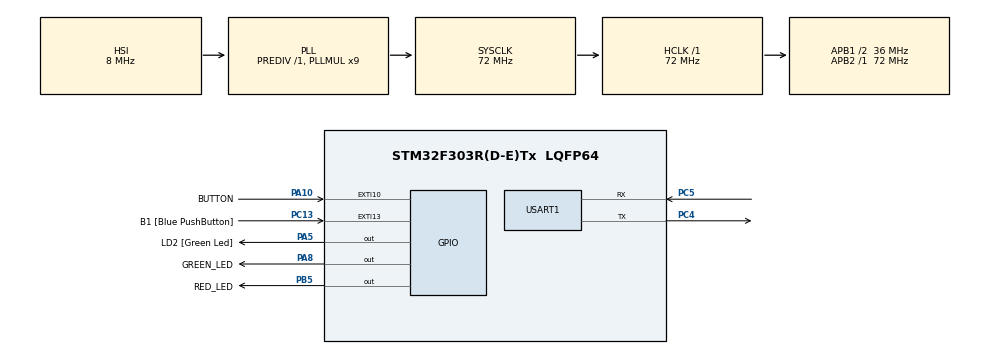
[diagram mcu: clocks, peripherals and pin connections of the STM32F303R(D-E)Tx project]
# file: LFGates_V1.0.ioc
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Dma.Request0=USART1_RX
Dma.Request1=USART1_TX
Dma.USART1_RX.0.Direction=DMA_PERIPH_TO_MEMORY
Dma.USART1_RX.0.Instance=DMA1_Channel5
Dma.USART1_RX.0.MemDataAlignment=DMA_MDATAALIGN_BYTE
Dma.USART1_RX.0.MemInc=DMA_MINC_ENABLE
Dma.USART1_RX.0.Mode=DMA_NORMAL
Dma.USART1_RX.0.PeriphDataAlignment=DMA_PDATAALIGN_BYTE
Dma.USART1_RX.0.PeriphInc=DMA_PINC_DISABLE
Dma.USART1_RX.0.Priority=DMA_PRIORITY_LOW
Dma.USART1_TX.1.Direction=DMA_MEMORY_TO_PERIPH
Dma.USART1_TX.1.Instance=DMA1_Channel4
Dma.USART1_TX.1.MemDataAlignment=DMA_MDATAALIGN_BYTE
Dma.USART1_TX.1.MemInc=DMA_MINC_ENABLE
Dma.USART1_TX.1.Mode=DMA_NORMAL
Dma.USART1_TX.1.PeriphDataAlignment=DMA_PDATAALIGN_BYTE
Dma.USART1_TX.1.PeriphInc=DMA_PINC_DISABLE
Dma.USART1_TX.1.Priority=DMA_PRIORITY_LOW
Mcu.Family=STM32F3
Mcu.Name=STM32F303R(D-E)Tx
Mcu.Package=LQFP64
NVIC.DMA1_Channel4_IRQn=true\:0\:0\:false\:false\:true\:false\:true
NVIC.DMA1_Channel5_IRQn=true\:0\:0\:false\:false\:true\:false\:true
NVIC.EXTI15_10_IRQn=true\:0\:0\:false\:false\:true\:true\:true
NVIC.PriorityGroup=NVIC_PRIORITYGROUP_0
NVIC.USART1_IRQn=true\:0\:0\:false\:false\:true\:true\:true
PA10.GPIO_Label=BUTTON
PA10.GPIO_ModeDefaultEXTI=GPIO_MODE_IT_RISING
PA10.GPIO_PuPd=GPIO_PULLUP
PA10.Signal=GPXTI10
PA13.GPIO_Label=TMS
PA13.Signal=SYS_JTMS-SWDIO
PA14.GPIO_Label=TCK
PA14.Signal=SYS_JTCK-SWCLK
PA5.GPIO_Label=LD2 [Green Led]
PA5.GPIO_Mode=GPIO_MODE_OUTPUT_PP
PA5.GPIO_PuPd=GPIO_NOPULL
PA5.GPIO_Speed=GPIO_SPEED_FREQ_LOW
PA5.Signal=GPIO_Output
PA8.GPIO_Label=GREEN_LED
PA8.Signal=GPIO_Output
PB3.GPIO_Label=SWO
PB3.Signal=SYS_JTDO-TRACESWO
PB5.GPIO_Label=RED_LED
PB5.Signal=GPIO_Output
PC13.GPIO_Label=B1 [Blue PushButton]
PC13.GPIO_ModeDefaultEXTI=GPIO_MODE_IT_FALLING
PC13.Signal=GPXTI13
PC14-OSC32_IN.Mode=LSE-External-Clock-Source
PC14-OSC32_IN.Signal=RCC_OSC32_IN
PC15-OSC32_OUT.Signal=RCC_OSC32_OUT
PC4.Mode=Asynchronous
PC4.Signal=USART1_TX
PC5.Mode=Asynchronous
PC5.Signal=USART1_RX
PF0-OSC_IN.Signal=RCC_OSC_IN
PF1-OSC_OUT.Signal=RCC_OSC_OUT
ProjectManager.HeapSize=0x200
ProjectManager.StackSize=0x400
ProjectManager.TargetToolchain=STM32CubeIDE
RCC.AHBFreq_Value=72000000
RCC.APB1CLKDivider=RCC_HCLK_DIV2
RCC.APB1Freq_Value=36000000
RCC.APB1TimFreq_Value=72000000
RCC.APB2Freq_Value=72000000
RCC.APB2TimFreq_Value=72000000
RCC.CortexFreq_Value=72000000
RCC.HCLKFreq_Value=72000000
RCC.HSE_VALUE=8000000
RCC.HSI_VALUE=8000000
RCC.LSE_VALUE=32768
RCC.PLLM=8
RCC.PLLMUL=RCC_PLL_MUL9
RCC.PLLN=336
RCC.PLLP=RCC_PLLP_DIV4
RCC.PLLQ=7
RCC.RCC_PLLsource_Clock_Source_FROM_HSE=RCC_HSE_PREDIV_DIV2
RCC.SYSCLKFreq_VALUE=72000000
RCC.SYSCLKSourceVirtual=RCC_SYSCLKSOURCE_PLLCLK
RCC.USBFreq_Value=72000000
USART1.VirtualMode-Asynchronous=VM_ASYNC
board=NUCLEO-F303RE

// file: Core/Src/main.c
/* USER CODE BEGIN Header */
/**
  ******************************************************************************
  * @file           : main.c
  * @brief          : Main program body
  ******************************************************************************
  * @attention
  *
  * <h2><center>&copy; Copyright (c) 2020 STMicroelectronics.
  * All rights reserved.</center></h2>
  *
  * This software component is licensed by ST under BSD 3-Clause license,
  * the "License"; You may not use this file except in compliance with the
  * License. You may obtain a copy of the License at:
  *                        opensource.org/licenses/BSD-3-Clause
  *
  ******************************************************************************
  */
/* USER CODE END Header */

#include "main.h"

/* USER CODE BEGIN Includes */
#include <string.h>
#include "command_decoder.h"
#include "clock.h"
/* USER CODE END Includes */

/* USER CODE BEGIN PD */
#define R '\r'
#define CR '\n'
#define RX_FRAME 8
/* USER CODE END PD */

UART_HandleTypeDef huart1;
DMA_HandleTypeDef hdma_usart1_rx;
DMA_HandleTypeDef hdma_usart1_tx;

/* USER CODE BEGIN PV */
char cBufferReceived[RX_FRAME];

/* USER CODE END PV */

void SystemClock_Config(void);
static void MX_GPIO_Init(void);
static void MX_DMA_Init(void);
static void MX_USART1_UART_Init(void);
/* USER CODE BEGIN PFP */

void putc(char c);
uint8_t puts(char *cBufferTransmit, unsigned char ucBufferSize);
void HAL_UART_RxCpltCallback(UART_HandleTypeDef *huart);
void HAL_GPIO_EXTI_Callback(uint16_t GPIO_Pin);

/* USER CODE END PFP */

int main(void)
{

  /* MCU Configuration--------------------------------------------------------*/

  /* Reset of all peripherals, Initializes the Flash interface and the Systick. */
  HAL_Init();

  /* Configure the system clock */
  SystemClock_Config();

  /* Initialize all configured peripherals */
  MX_GPIO_Init();
  MX_DMA_Init();
  MX_USART1_UART_Init();
  /* USER CODE BEGIN 2 */
  HAL_UART_Receive_DMA(&huart1,cBufferReceived,RX_FRAME);
  /* USER CODE END 2 */

  /* Infinite loop */
  while (1)
  {

  }
}

void SystemClock_Config(void)
{
  RCC_OscInitTypeDef RCC_OscInitStruct = {0};
  RCC_ClkInitTypeDef RCC_ClkInitStruct = {0};
  RCC_PeriphCLKInitTypeDef PeriphClkInit = {0};

  /** Initializes the CPU, AHB and APB busses clocks
  */
  RCC_OscInitStruct.OscillatorType = RCC_OSCILLATORTYPE_HSI;
  RCC_OscInitStruct.HSIState = RCC_HSI_ON;
  RCC_OscInitStruct.HSICalibrationValue = RCC_HSICALIBRATION_DEFAULT;
  RCC_OscInitStruct.PLL.PLLState = RCC_PLL_ON;
  RCC_OscInitStruct.PLL.PLLSource = RCC_PLLSOURCE_HSI;
  RCC_OscInitStruct.PLL.PLLMUL = RCC_PLL_MUL9;
  RCC_OscInitStruct.PLL.PREDIV = RCC_PREDIV_DIV1;
  if (HAL_RCC_OscConfig(&RCC_OscInitStruct) != HAL_OK)
  {
    Error_Handler();
  }
  /** Initializes the CPU, AHB and APB busses clocks
  */
  RCC_ClkInitStruct.ClockType = RCC_CLOCKTYPE_HCLK|RCC_CLOCKTYPE_SYSCLK
                              |RCC_CLOCKTYPE_PCLK1|RCC_CLOCKTYPE_PCLK2;
  RCC_ClkInitStruct.SYSCLKSource = RCC_SYSCLKSOURCE_PLLCLK;
  RCC_ClkInitStruct.AHBCLKDivider = RCC_SYSCLK_DIV1;
  RCC_ClkInitStruct.APB1CLKDivider = RCC_HCLK_DIV2;
  RCC_ClkInitStruct.APB2CLKDivider = RCC_HCLK_DIV1;

  if (HAL_RCC_ClockConfig(&RCC_ClkInitStruct, FLASH_LATENCY_2) != HAL_OK)
  {
    Error_Handler();
  }
  PeriphClkInit.PeriphClockSelection = RCC_PERIPHCLK_USART1;
  PeriphClkInit.Usart1ClockSelection = RCC_USART1CLKSOURCE_PCLK2;
  if (HAL_RCCEx_PeriphCLKConfig(&PeriphClkInit) != HAL_OK)
  {
    Error_Handler();
  }
}

static void MX_USART1_UART_Init(void)
{

  huart1.Instance = USART1;
  huart1.Init.BaudRate = 38400;
  huart1.Init.WordLength = UART_WORDLENGTH_8B;
  huart1.Init.StopBits = UART_STOPBITS_1;
  huart1.Init.Parity = UART_PARITY_NONE;
  huart1.Init.Mode = UART_MODE_TX_RX;
  huart1.Init.HwFlowCtl = UART_HWCONTROL_NONE;
  huart1.Init.OverSampling = UART_OVERSAMPLING_16;
  huart1.Init.OneBitSampling = UART_ONE_BIT_SAMPLE_DISABLE;
  huart1.AdvancedInit.AdvFeatureInit = UART_ADVFEATURE_NO_INIT;
  if (HAL_UART_Init(&huart1) != HAL_OK)
  {
    Error_Handler();
  }

}

static void MX_DMA_Init(void)
{

  /* DMA controller clock enable */
  __HAL_RCC_DMA1_CLK_ENABLE();

  /* DMA interrupt init */
  /* DMA1_Channel4_IRQn interrupt configuration */
  HAL_NVIC_SetPriority(DMA1_Channel4_IRQn, 0, 0);
  HAL_NVIC_EnableIRQ(DMA1_Channel4_IRQn);
  /* DMA1_Channel5_IRQn interrupt configuration */
  HAL_NVIC_SetPriority(DMA1_Channel5_IRQn, 0, 0);
  HAL_NVIC_EnableIRQ(DMA1_Channel5_IRQn);

}

static void MX_GPIO_Init(void)
{
  GPIO_InitTypeDef GPIO_InitStruct = {0};

  /* GPIO Ports Clock Enable */
  __HAL_RCC_GPIOC_CLK_ENABLE();
  __HAL_RCC_GPIOF_CLK_ENABLE();
  __HAL_RCC_GPIOA_CLK_ENABLE();
  __HAL_RCC_GPIOB_CLK_ENABLE();

  /*Configure GPIO pin Output Level */
  HAL_GPIO_WritePin(GPIOA, LD2_Pin|GREEN_LED_Pin, GPIO_PIN_RESET);

  /*Configure GPIO pin Output Level */
  HAL_GPIO_WritePin(RED_LED_GPIO_Port, RED_LED_Pin, GPIO_PIN_RESET);

  /*Configure GPIO pin : B1_Pin */
  GPIO_InitStruct.Pin = B1_Pin;
  GPIO_InitStruct.Mode = GPIO_MODE_IT_FALLING;
  GPIO_InitStruct.Pull = GPIO_NOPULL;
  HAL_GPIO_Init(B1_GPIO_Port, &GPIO_InitStruct);

  /*Configure GPIO pins : LD2_Pin GREEN_LED_Pin */
  GPIO_InitStruct.Pin = LD2_Pin|GREEN_LED_Pin;
  GPIO_InitStruct.Mode = GPIO_MODE_OUTPUT_PP;
  GPIO_InitStruct.Pull = GPIO_NOPULL;
  GPIO_InitStruct.Speed = GPIO_SPEED_FREQ_LOW;
  HAL_GPIO_Init(GPIOA, &GPIO_InitStruct);

  /*Configure GPIO pin : BUTTON_Pin */
  GPIO_InitStruct.Pin = BUTTON_Pin;
  GPIO_InitStruct.Mode = GPIO_MODE_IT_RISING;
  GPIO_InitStruct.Pull = GPIO_PULLUP;
  HAL_GPIO_Init(BUTTON_GPIO_Port, &GPIO_InitStruct);

  /*Configure GPIO pin : RED_LED_Pin */
  GPIO_InitStruct.Pin = RED_LED_Pin;
  GPIO_InitStruct.Mode = GPIO_MODE_OUTPUT_PP;
  GPIO_InitStruct.Pull = GPIO_NOPULL;
  GPIO_InitStruct.Speed = GPIO_SPEED_FREQ_LOW;
  HAL_GPIO_Init(RED_LED_GPIO_Port, &GPIO_InitStruct);

  /* EXTI interrupt init*/
  HAL_NVIC_SetPriority(EXTI15_10_IRQn, 0, 0);
  HAL_NVIC_EnableIRQ(EXTI15_10_IRQn);

}

/* USER CODE BEGIN 4 */
void putc(char c){
	HAL_UART_Transmit(&huart1, (uint8_t*)&c,1,1000);
}

uint8_t puts(char *cBufferTransmit, unsigned char ucBufferSize){
	unsigned char ucCharacterCounter;

	for(ucCharacterCounter = 0; ucCharacterCounter <= ucBufferSize; ucCharacterCounter++){
		if(cBufferTransmit[ucBufferSize] == NULL)
			break;
	}
	if(ucCharacterCounter == ucBufferSize){
		return 1;
	}
	for(unsigned char ucCharacterCounter = 0; cBufferTransmit[ucCharacterCounter] != NULL; ucCharacterCounter++){
		putc(cBufferTransmit[ucCharacterCounter]);
	}
	putc(R);
	putc(CR);
	return 0;
}

void Token_Handler(){
	char cSuccess[10] = "BT+SCSS+";
	if((ui8TokenCounter>0) && (asToken[1].eType == KEYWORD)){
		switch(asToken[1].uValue.eKeyword){
			case INIT:
				puts(cSuccess,sizeof(cSuccess));
				break;
			case M:
				if(asToken[2].eType == NUMBER){
					HAL_GPIO_TogglePin(RED_LED_GPIO_Port, RED_LED_Pin);
				}

		}
	}

}

void HAL_UART_RxCpltCallback(UART_HandleTypeDef *huart){
	HAL_UART_Receive_DMA(&huart1,cBufferReceived,RX_FRAME);
	char cError[10] = "BT+ERRO+";
	char cSuccess[10] = "BT+SCSS+";
	char cRxBegin[3];
	strncpy(cRxBegin,cBufferReceived,3);

	if(strcmp("BT+",cRxBegin) != 0 ) {
		puts(cError,sizeof(cError));
	}
	else {
		puts(cSuccess,sizeof(cSuccess));
	}
	/*************************************/

	DecodeMsg(cBufferReceived);
	Token_Handler();
}

/*It is a interrupt function which is in use when robot cross the end line */
//DOIT: logic which takes a laser signal
//for tests I use a tact switch on D2 PIN
void HAL_GPIO_EXTI_Callback(uint16_t GPIO_Pin){
	char cEndOfRace[10] = "BT+ENDR+";
	puts(cEndOfRace,sizeof(cEndOfRace));
	HAL_GPIO_TogglePin(RED_LED_GPIO_Port, RED_LED_Pin);
	/*
	 * logic that takes a time from start gate and count the avarage time
	 */
}

/* USER CODE END 4 */

void Error_Handler(void)
{
}

/************************ (C) COPYRIGHT STMicroelectronics *****END OF FILE****/
